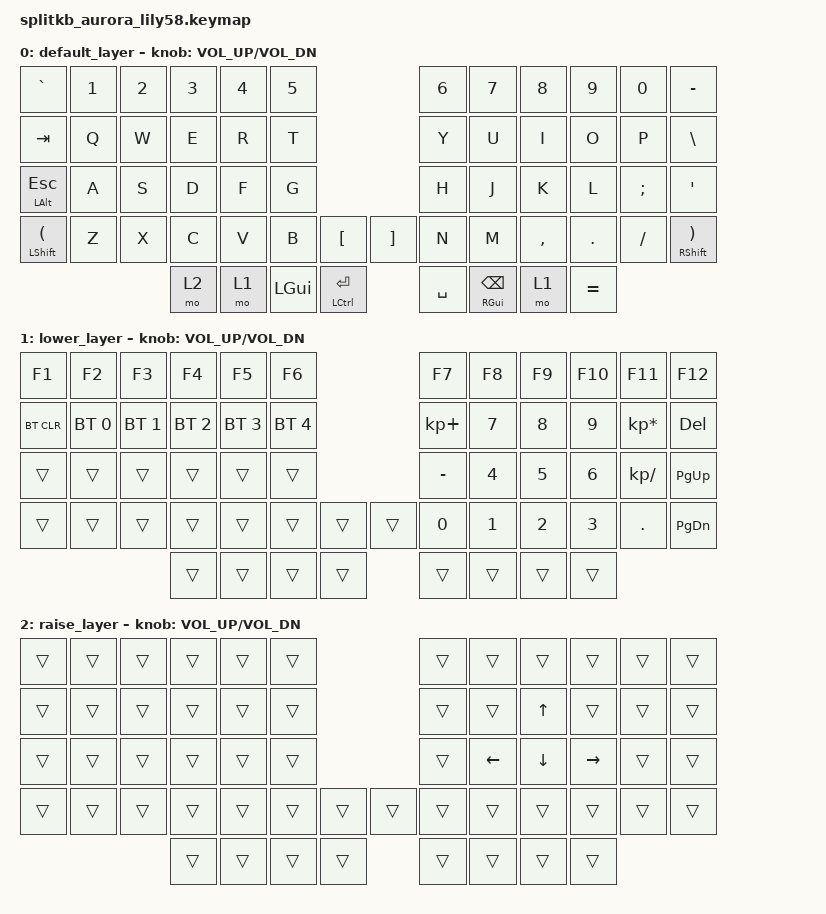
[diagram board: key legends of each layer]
/*
 * Copyright (c) 2022 The ZMK Contributors
 *
 * SPDX-License-Identifier: MIT
 */

#include <behaviors.dtsi>
#include <dt-bindings/zmk/keys.h>
#include <dt-bindings/zmk/bt.h>
#include <dt-bindings/zmk/ext_power.h>

/ {
    combos {
        compatible = "zmk,combos";
        combo_esc {
            timeout-ms = <50>;
            key-positions = <10 11>; // 0 + minus
            bindings = <&kp BSPC>;
        };
        combo_del {
            timeout-ms = <50>;
            key-positions = <22 23>; // p + backslash
            bindings = <&kp DEL>;
        };
        combo_pg_up {
            timeout-ms = <50>;
            key-positions = <34 35>; // ; + '
            bindings = <&kp PG_UP>;
        };
        combo_pg_down {
            timeout-ms = <50>;
            key-positions = <48 49>; // / + shift
            bindings = <&kp PG_DN>;
        };
    };
};

/ {
    keymap {
        compatible = "zmk,keymap";

        default_layer {
// -------------------------------------------------------------------------------------------------------------
// |  `      |  1  |  2  |  3   |  4   |  5   |                   |  6   |  7    |  8    |  9   |   0   |  -    |
// |  TAB    |  Q  |  W  |  E   |  R   |  T   |                   |  Y   |  U    |  I    |  O   |   P   |  BSLH |
// | ALT/ESC |  A  |  S  |  D   |  F   |  G   |                   |  H   |  J    |  K    |  L   |   ;   |   '   |
// | SHIFT   |  Z  |  X  |  C   |  V   |  B   |   "["  |  |  "]"  |  N   |  M    |  ,    |  .   |   /   | SHIFT |
//                    | RAISE | LOWER | GUI | CTRL/RET |  | SPACE | GUI | LOWER  |   =   |
            bindings = <
&kp GRAVE       &kp N1 &kp N2 &kp N3   &kp N4   &kp N5                     &kp N6   &kp N7   &kp N8    &kp N9  &kp N0   &kp MINUS
&kp TAB         &kp Q  &kp W  &kp E    &kp R    &kp T                      &kp Y    &kp U    &kp I     &kp O   &kp P    &kp BSLH
&mt LALT ESC    &kp A  &kp S  &kp D    &kp F    &kp G                      &kp H    &kp J    &kp K     &kp L   &kp SEMI &kp SQT
&mt LSHFT LPAR  &kp Z  &kp X  &kp C    &kp V    &kp B  &kp LBKT  &kp RBKT  &kp N    &kp M    &kp COMMA &kp DOT &kp FSLH &mt RSHIFT RPAR
                              &mo 2 &mo 1 &kp LGUI  &mt LCTRL RET &kp SPACE &mt RGUI BSPC &mo 1 &kp EQUAL
            >;

            sensor-bindings = <&inc_dec_kp C_VOL_UP C_VOL_DN>;
        };

        lower_layer {
// ------------------------------------------------------------------------------------------------------------
// |  F1   |  F2 |  F3 |  F4  |  F5  |  F6  |                   |  F7  |  F8   |  F9    |  F10   |  F11  |  F12  |
// | BTCLR | BT0 | BT1 |  BT2 |  BT3 |  BT4 |                   |   +  |   7   |    8   |    9   |   *   |  DEL  |
// |       |     |     |      |      |      |                   |   -  |   4   |    5   |    6   |   /   | PG_UP |
// |       |     |     |      |      |      |        |  | BSPC  |   0  |   1   |    2   |    3   |   .   | PG_DN |
//                     |      |      |      |        |  |       |      |       |        |
            bindings = <
&kp F1     &kp F2        &kp F3       &kp F4       &kp F5       &kp F6                        &kp F7       &kp F8   &kp F9  &kp F10  &kp F11          &kp F12
&bt BT_CLR &bt BT_SEL 0  &bt BT_SEL 1 &bt BT_SEL 2 &bt BT_SEL 3 &bt BT_SEL 4                  &kp KP_PLUS  &kp N7   &kp N8  &kp N9   &kp KP_MULTIPLY  &kp DEL
&trans     &trans        &trans       &trans       &trans       &trans                        &kp MINUS    &kp N4   &kp N5  &kp N6   &kp KP_DIVIDE    &kp PG_UP
&trans     &trans        &trans       &trans       &trans       &trans    &trans    &trans    &kp N0       &kp N1   &kp N2  &kp N3   &kp DOT          &kp PG_DN
                                         &trans   &trans   &trans   &trans               &trans    &trans   &trans  &trans
            >;

            sensor-bindings = <&inc_dec_kp C_VOL_UP C_VOL_DN>;
        };

        raise_layer {
// ------------------------------------------------------------------------------------------------------------
// |       |     |     |      |      |      |                   |      |       |       |      |       |       |
// |       |     |     |      |      |      |                   |      |       |   ^   |      |       |       |
// |       |     |     |      |      |      |                   |      |   <-  |   v   |  ->  |       |       |
// |       |     |     |      |      |      |        |  |       |      |       |       |      |       |       |
//                     |      |      |      |        |  |       |      |       |       |
            bindings = <
&trans    &trans &trans &trans  &trans  &trans                       &trans   &trans    &trans    &trans    &trans  &trans
&trans    &trans &trans &trans  &trans  &trans                       &trans   &trans    &kp UP    &trans    &trans  &trans
&trans    &trans &trans &trans  &trans  &trans                       &trans   &kp LEFT  &kp DOWN  &kp RIGHT &trans  &trans
&trans    &trans &trans &trans  &trans  &trans    &trans   &trans    &trans   &trans    &trans    &trans    &trans  &trans
                        &trans  &trans  &trans    &trans   &trans    &trans   &trans    &trans
            >;

            sensor-bindings = <&inc_dec_kp C_VOL_UP C_VOL_DN>;
        };
    };
};

